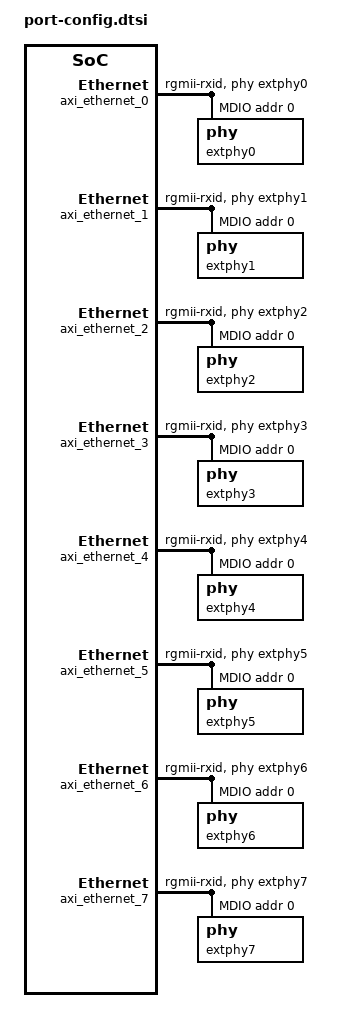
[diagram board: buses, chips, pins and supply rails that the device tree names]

    &axi_ethernet_0 {  
        local-mac-address = [00 0a 35 00 01 22];  
        phy-handle = <&extphy0>;  
        xlnx,has-mdio = <0x1>;  
        phy-mode = "rgmii-rxid";  
        mdio {  
            #address-cells = <1>;  
            #size-cells = <0>;  
            extphy0: phy@0 {  
                device_type = "ethernet-phy";  
                reg = <0>;  
            };  
        };  
    };  
      
    &axi_ethernet_1 {  
        local-mac-address = [00 0a 35 00 01 23];  
        phy-handle = <&extphy1>;  
        xlnx,has-mdio = <0x1>;  
        phy-mode = "rgmii-rxid";  
        mdio {  
            #address-cells = <1>;  
            #size-cells = <0>;  
            extphy1: phy@0 {  
                device_type = "ethernet-phy";  
                reg = <0>;  
            };  
        };  
    };  
      
    &axi_ethernet_2 {  
        local-mac-address = [00 0a 35 00 01 24];  
        phy-handle = <&extphy2>;  
        xlnx,has-mdio = <0x1>;  
        phy-mode = "rgmii-rxid";  
        mdio {  
            #address-cells = <1>;  
            #size-cells = <0>;  
            extphy2: phy@0 {  
                device_type = "ethernet-phy";  
                reg = <0>;  
            };  
        };  
    };  
      
    &axi_ethernet_3 {  
        local-mac-address = [00 0a 35 00 01 25];  
        phy-handle = <&extphy3>;  
        xlnx,has-mdio = <0x1>;  
        phy-mode = "rgmii-rxid";  
        mdio {  
            #address-cells = <1>;  
            #size-cells = <0>;  
            extphy3: phy@0 {  
                device_type = "ethernet-phy";  
                reg = <0>;  
            };  
        };  
    };  
      
    &axi_ethernet_4 {  
        local-mac-address = [00 0a 35 00 01 26];  
        phy-handle = <&extphy4>;  
        xlnx,has-mdio = <0x1>;  
        phy-mode = "rgmii-rxid";  
        mdio {  
            #address-cells = <1>;  
            #size-cells = <0>;  
            extphy4: phy@0 {  
                device_type = "ethernet-phy";  
                reg = <0>;  
            };  
        };  
    };  
      
    &axi_ethernet_5 {  
        local-mac-address = [00 0a 35 00 01 27];  
        phy-handle = <&extphy5>;  
        xlnx,has-mdio = <0x1>;  
        phy-mode = "rgmii-rxid";  
        mdio {  
            #address-cells = <1>;  
            #size-cells = <0>;  
            extphy5: phy@0 {  
                device_type = "ethernet-phy";  
                reg = <0>;  
            };  
        };  
    };  
      
    &axi_ethernet_6 {  
        local-mac-address = [00 0a 35 00 01 28];  
        phy-handle = <&extphy6>;  
        xlnx,has-mdio = <0x1>;  
        phy-mode = "rgmii-rxid";  
        mdio {  
            #address-cells = <1>;  
            #size-cells = <0>;  
            extphy6: phy@0 {  
                device_type = "ethernet-phy";  
                reg = <0>;  
            };  
        };  
    };  
      
    &axi_ethernet_7 {  
        local-mac-address = [00 0a 35 00 01 29];  
        phy-handle = <&extphy7>;  
        xlnx,has-mdio = <0x1>;  
        phy-mode = "rgmii-rxid";  
        mdio {  
            #address-cells = <1>;  
            #size-cells = <0>;  
            extphy7: phy@0 {  
                device_type = "ethernet-phy";  
                reg = <0>;  
            };  
        };  
    };  

